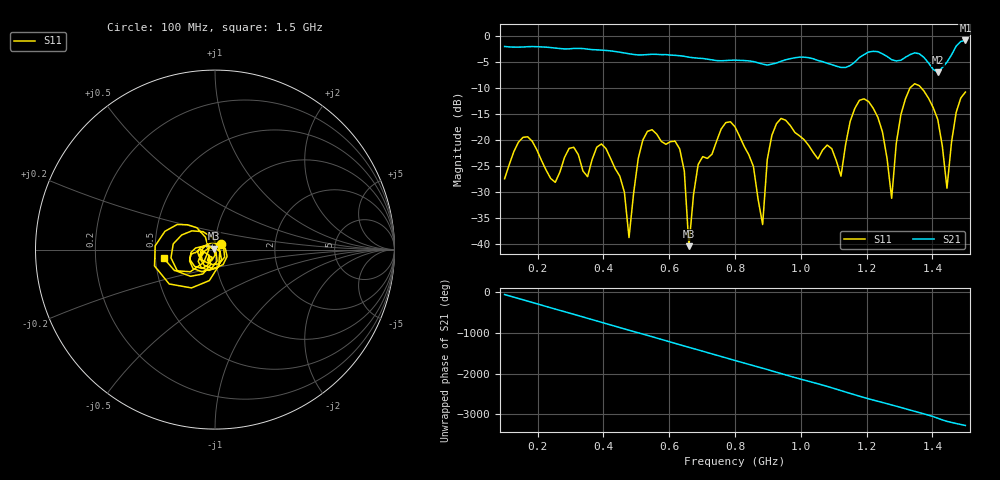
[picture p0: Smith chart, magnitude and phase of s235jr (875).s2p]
! NanoVNA-App
! Date: 2025-09-25 15:10:59
! Start: 100MHz Stop: 1,5GHz Points: 101
! S-Parameter data: F S11 S21 S12 S22
# Hz S RI R 50
!  Frequency  S11_Real  S11_Imag  S21_Real  S21_Imag  S12_Real  S12_Imag  S22_Real  S22_Imag
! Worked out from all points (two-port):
!   101 points, 100 MHz to 1.5 GHz, reference 50 ohm
!   highest |S21| = -0.80 dB at 1.5 GHz (marker M1); lowest = -6.9 dB at 1.416 GHz (marker M2)
!   |S21| within 3 dB of the highest: start of sweep to 639 MHz; 1.185 GHz to 1.26 GHz (74.61 MHz wide, 6.1 % of centre) (the widest 2 of 4)
!   lowest |S11| = -40.5 dB at 660 MHz (marker M3), VSWR 1.02, Z = 49.2 + j0.541 ohm
!   |S11| at or under -10 dB: start of sweep to 1.332 GHz; 1.367 GHz to end of sweep
!   S12 and S22 are empty: the file has one direction only
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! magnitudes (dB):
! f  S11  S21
! 100 MHz  -27.5  -2.0
! 170 MHz  -19.4  -2.0
! 338 MHz  -26.0  -2.4
! 408 MHz  -21.7  -2.7
! 478 MHz  -38.8  -3.4
! 520 MHz  -20.0  -3.6
! 576 MHz  -20.3  -3.5
! 632 MHz  -21.7  -3.7
! 660 MHz  -40.5  -4.0
! 688 MHz  -24.7  -4.2
! 800 MHz  -17.4  -4.6
! 884 MHz  -36.3  -5.3
! 926 MHz  -16.8  -5.2
! 1.038 GHz  -22.4  -4.3
! 1.122 GHz  -27.0  -6.0
! 1.192 GHz  -12.1  -3.5
! 1.248 GHz  -18.4  -3.4
! 1.276 GHz  -31.2  -4.5
! 1.332 GHz  -9.9  -3.5
! 1.416 GHz  -16.0  -6.9
! 1.444 GHz  -29.3  -5.0
! 1.5 GHz  -10.8  -0.8
